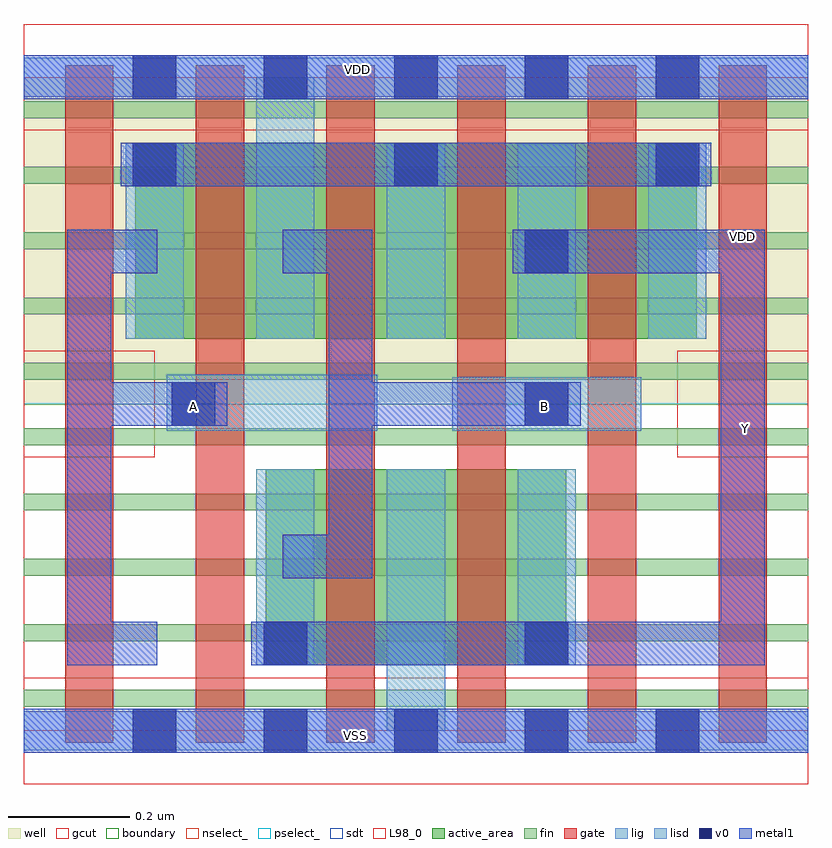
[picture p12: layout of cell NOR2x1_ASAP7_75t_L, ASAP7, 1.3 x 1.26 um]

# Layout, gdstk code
import gdstk
lib = gdstk.Library(unit=1e-6, precision=2.5e-10)
def R(c, l, rs):  # rectangles x0, y0, x1, y1
    for r in rs: c.add(gdstk.rectangle(r[:2], r[2:], *l))
def A(c, l, x, y, w, h, nx, ny, dx, dy):  # array of equal rectangles
    R(c, l, [(x+i*dx, y+j*dy, x+i*dx+w, y+j*dy+h) for i in range(nx) for j in range(ny)])
def P(c, l, *ps):  # polygons
    for p in ps: c.add(gdstk.Polygon(p, *l))
well = (1, 0)
fin = (2, 0)
gate = (7, 0)
gcut = (10, 0)
active_area = (11, 0)
nselect_ = (12, 0)
pselect_ = (13, 0)
lig = (16, 0)
lisd = (17, 0)
v0 = (18, 0)
metal1 = (19, 0)
sdt = (88, 0)
L98_0 = (98, 0)
boundary = (100, 0)

nor2x1_asap7_75t_l = lib.new_cell('NOR2x1_ASAP7_75t_L')
R(nor2x1_asap7_75t_l, well, [(0,0.54,1.296,1.08)])
A(nor2x1_asap7_75t_l, fin, 0, 0.04, 1.296, 0.028, 1, 10, 0, 0.108)
A(nor2x1_asap7_75t_l, gate, 0.068, -0.02, 0.08, 1.12, 6, 1, 0.216, 0)
R(nor2x1_asap7_75t_l, gcut, [(0,-0.088,1.296,0.088), (0,0.452,0.216,0.628), (1.08,0.452,1.296,0.628), (0,0.992,1.296,1.168)])
R(nor2x1_asap7_75t_l, active_area, [(0.4,0.108,0.896,0.432), (0.184,0.648,1.112,0.972)])
R(nor2x1_asap7_75t_l, nselect_, [(0,0,1.296,0.54)])
R(nor2x1_asap7_75t_l, pselect_, [(0,0.54,1.296,1.08)])
R(nor2x1_asap7_75t_l, lig, [(0,-0.032,1.296,0.032), (0.236,0.496,0.584,0.588), (0.708,0.496,1.02,0.584), (0,1.048,1.296,1.112)])
A(nor2x1_asap7_75t_l, lisd, 0.6, 0.648, 0.096, 0.324, 3, 1, 0.216, 0)
R(nor2x1_asap7_75t_l, lisd, [(0.6,0,0.696,0.432), (0.384,0.108,0.48,0.432), (0.816,0.108,0.912,0.432), (0.168,0.648,0.264,0.972), (0.384,0.648,0.48,1.08)])
A(nor2x1_asap7_75t_l, v0, 0.18, -0.036, 0.072, 0.072, 5, 2, 0.216, 1.08)
A(nor2x1_asap7_75t_l, v0, 0.18, 0.9, 0.072, 0.072, 3, 1, 0.432, 0)
R(nor2x1_asap7_75t_l, v0, [(0.396,0.108,0.468,0.18), (0.828,0.108,0.9,0.18), (0.244,0.504,0.316,0.576), (0.828,0.504,0.9,0.576), (0.828,0.756,0.9,0.828)])
R(nor2x1_asap7_75t_l, metal1, [(0,-0.036,1.296,0.036), (0.16,0.9,1.136,0.972), (0,1.044,1.296,1.116)])
P(nor2x1_asap7_75t_l, metal1, [(0.336,0.576),(0.144,0.576),(0.144,0.756),(0.22,0.756),(0.22,0.828),(0.072,0.828),(0.072,0.108),(0.22,0.108),(0.22,0.18),(0.144,0.18),(0.144,0.504),(0.336,0.504)],
  [(0.92,0.576),(0.576,0.576),(0.576,0.828),(0.428,0.828),(0.428,0.756),(0.504,0.756),(0.504,0.324),(0.428,0.324),(0.428,0.252),(0.576,0.252),(0.576,0.504),(0.92,0.504)],
  [(1.224,0.828),(0.808,0.828),(0.808,0.756),(1.152,0.756),(1.152,0.18),(0.376,0.18),(0.376,0.108),(1.224,0.108)])
A(nor2x1_asap7_75t_l, sdt, 0.384, 0.108, 0.096, 0.324, 3, 1, 0.216, 0)
A(nor2x1_asap7_75t_l, sdt, 0.168, 0.648, 0.096, 0.324, 5, 1, 0.216, 0)
R(nor2x1_asap7_75t_l, L98_0, [(0,0,1.296,1.08)])
R(nor2x1_asap7_75t_l, boundary, [(0,0,1.296,1.08)])
nor2x1_asap7_75t_l.add(gdstk.Label('VDD', (1.188,0.816), layer=1, texttype=251))
nor2x1_asap7_75t_l.add(gdstk.Label('VSS', (0.548,-0.008), layer=19, texttype=251))
nor2x1_asap7_75t_l.add(gdstk.Label('VDD', (0.552,1.092), layer=19, texttype=251))
nor2x1_asap7_75t_l.add(gdstk.Label('Y', (1.192,0.5), layer=19, texttype=251))
nor2x1_asap7_75t_l.add(gdstk.Label('A', (0.28,0.536), layer=19, texttype=251))
nor2x1_asap7_75t_l.add(gdstk.Label('B', (0.86,0.536), layer=19, texttype=251))
nor2x1_asap7_75t_l.add(gdstk.Label('VSS', (1.464,0.812), layer=3, texttype=251))

lib.write_gds('NOR2x1_ASAP7_75t_L.gds')
